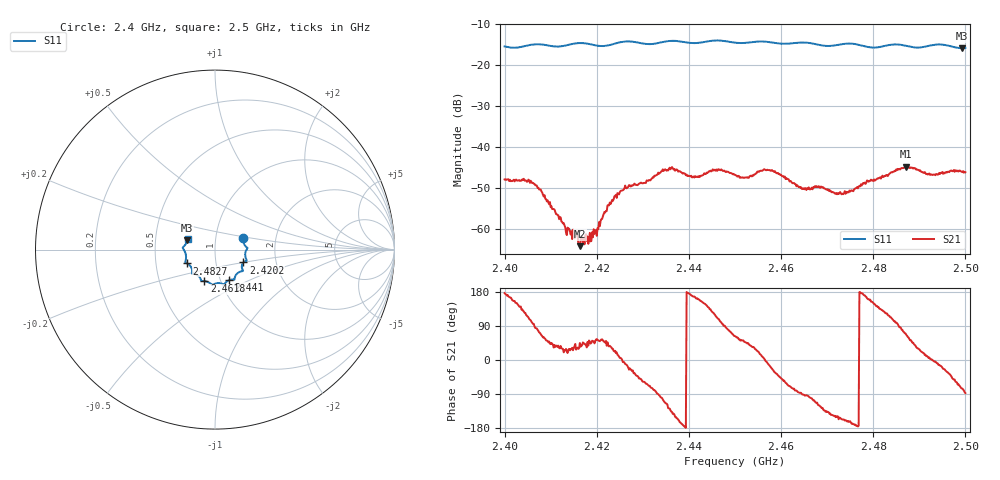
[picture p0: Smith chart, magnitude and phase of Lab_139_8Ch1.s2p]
# Hz S RI R 50
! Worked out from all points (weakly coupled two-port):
!   601 points, 2.4 GHz to 2.5 GHz, reference 50 ohm
!   highest |S21| = -44.82 dB at 2.4872 GHz (marker M1); lowest = -64.2 dB at 2.4163 GHz (marker M2)
!   lowest |S11| = -15.8 dB at 2.4993 GHz (marker M3), VSWR 1.39, Z = 36.5 + j3.83 ohm
!   |S11| at or under -10 dB: start of sweep to end of sweep
!   S12 and S22 are empty: the file has one direction only
!   S11 on the Smith chart (normalised r, x): 2.4 GHz: 1.36, +0.18; 2.4202 GHz: 1.36, -0.20; 2.441 GHz: 1.10, -0.39; 2.4618 GHz: 0.84, -0.30; 2.4827 GHz: 0.72, -0.11; 2.5 GHz: 0.73, +0.09
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2.4e9  0.1583 0.063  -0.00402 0.000237  0 0  0 0
2.4065e9  0.1804 0.00982  0.000119 0.00355  0 0  0 0
2.413e9  0.1694 -0.0393  0.000989 0.000487  0 0  0 0
2.416333e9  0.1774 -0.0603  0.000436 0.000434  0 0  0 0
2.416667e9  0.1771 -0.0609  0.000654 0.000489  0 0  0 0
2.420167e9  0.1586 -0.0714  0.000618 0.000813  0 0  0 0
2.422833e9  0.1494 -0.0957  0.00167 0.00128  0 0  0 0
2.425667e9  0.1555 -0.1165  0.00296 -0.000282  0 0  0 0
2.433333e9  0.1115 -0.1507  5.94e-07 -0.00488  0 0  0 0
2.436333e9  0.1088 -0.1672  -0.00418 -0.00388  0 0  0 0
2.441e9  0.0788 -0.1697  -0.00426 0.000974  0 0  0 0
2.4465e9  0.0489 -0.1952  -0.00162 0.0051  0 0  0 0
2.45e9  0.0286 -0.1873  0.00208 0.0041  0 0  0 0
2.456833e9  -0.0192 -0.1933  0.00521 -0.000418  0 0  0 0
2.461833e9  -0.0592 -0.1753  0.00138 -0.00354  0 0  0 0
2.466667e9  -0.0787 -0.1682  -0.000636 -0.00313  0 0  0 0
2.4735e9  -0.1233 -0.1346  -0.00245 -0.00104  0 0  0 0
2.482667e9  -0.1559 -0.077  -0.00244 0.0037  0 0  0 0
2.483333e9  -0.1602 -0.0751  -0.00211 0.00409  0 0  0 0
2.487167e9  -0.1629 -0.0585  0.00229 0.00527  0 0  0 0
2.499333e9  -0.1539 0.0512  0.00124 -0.00478  0 0  0 0
2.5e9  -0.1521 0.0607  0.000228 -0.00493  0 0  0 0
